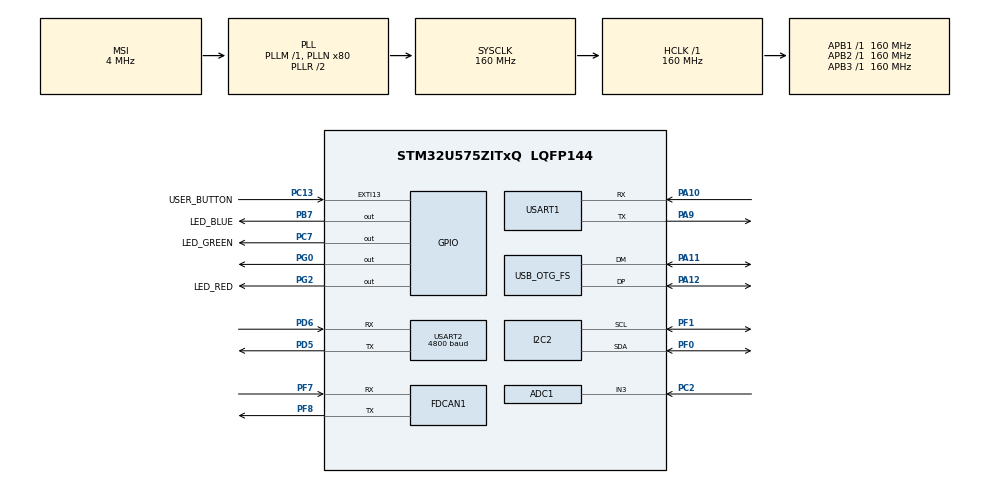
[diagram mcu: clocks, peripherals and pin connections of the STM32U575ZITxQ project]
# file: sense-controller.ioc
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ADC1.NbrOfConversion=1
ADC1.master=1
CORTEX_M33_NS.userName=CORTEX_M33
FDCAN1.AutoRetransmission=ENABLE
FDCAN1.CalculateBaudRateNominal=500000
FDCAN1.CalculateTimeBitNominal=2000
FDCAN1.CalculateTimeQuantumNominal=100.0
FDCAN1.ClockDivider=FDCAN_CLOCK_DIV4
FDCAN1.DataSyncJumpWidth=16
FDCAN1.DataTimeSeg1=23
FDCAN1.DataTimeSeg2=16
FDCAN1.ExtFiltersNbr=1
FDCAN1.FrameFormat=FDCAN_FRAME_FD_BRS
FDCAN1.NominalPrescaler=4
FDCAN1.NominalSyncJumpWidth=3
FDCAN1.NominalTimeSeg1=16
FDCAN1.NominalTimeSeg2=3
FDCAN1.StdFiltersNbr=1
GPDMA1.DESTINC_GPDMACH15=DMA_DINC_INCREMENTED
GPDMA1.IPHANDLE_GPDMACH15-SIMPLEREQUEST_GPDMACH15=__NULL
GPDMA1.REQUEST_GPDMACH15=GPDMA1_REQUEST_USART2_RX
I2C2.Timing=0x30909DEC
Mcu.Family=STM32U5
Mcu.Name=STM32U575ZITxQ
Mcu.Package=LQFP144
NVIC.FDCAN1_IT0_IRQn=true\:0\:0\:false\:false\:true\:true\:true\:true
NVIC.GPDMA1_Channel15_IRQn=true\:0\:0\:false\:false\:true\:false\:true\:true
NVIC.I2C2_ER_IRQn=true\:0\:0\:false\:false\:true\:true\:true\:true
NVIC.PriorityGroup=NVIC_PRIORITYGROUP_3
NVIC.TIM17_IRQn=true\:7\:0\:false\:false\:true\:false\:true\:true
NVIC.TimeBase=TIM17_IRQn
NVIC.TimeBaseIP=TIM17
NVIC.USART2_IRQn=true\:0\:0\:false\:false\:true\:true\:true\:true
PA10.Mode=Asynchronous
PA10.Signal=USART1_RX
PA11.Mode=Device_Only
PA11.Signal=USB_OTG_FS_DM
PA12.Mode=Device_Only
PA12.Signal=USB_OTG_FS_DP
PA13\ (JTMS/SWDIO).Signal=DEBUG_JTMS-SWDIO
PA14\ (JTCK/SWCLK).Signal=DEBUG_JTCK-SWCLK
PA15\ (JTDI).Signal=UCPD1_CC1
PA9.Mode=Asynchronous
PA9.Signal=USART1_TX
PB14.Signal=UCPD1_DBCC2
PB15.Signal=UCPD1_CC2
PB3\ (JTDO/TRACESWO).Signal=DEBUG_JTDO-SWO
PB5.Signal=UCPD1_DBCC1
PB7.GPIO_Label=LED_BLUE
PB7.Signal=GPIO_Output
PC13.GPIO_Label=USER_BUTTON
PC13.Signal=GPXTI13
PC14-OSC32_IN\ (PC14).Signal=RCC_OSC32_IN
PC15-OSC32_OUT\ (PC15).Signal=RCC_OSC32_OUT
PC2.Mode=IN3-Single-Ended
PC2.Signal=ADC1_IN3
PC7.GPIO_Label=LED_GREEN
PC7.Signal=GPIO_Output
PD5.Mode=Asynchronous
PD5.Signal=USART2_TX
PD6.Mode=Asynchronous
PD6.Signal=USART2_RX
PF0.Mode=I2C
PF0.Signal=I2C2_SDA
PF1.Mode=I2C
PF1.Signal=I2C2_SCL
PF7.Mode=FDCAN_Activate
PF7.Signal=FDCAN1_RX
PF8.Mode=FDCAN_Activate
PF8.Signal=FDCAN1_TX
PG0.GPIO_PuPd=GPIO_PULLDOWN
PG0.Signal=GPIO_Output
PG2.GPIO_Label=LED_RED
PG2.Signal=GPIO_Output
PWR.PowerMode=PWR_SMPS_SUPPLY
ProjectManager.HeapSize=0x200
ProjectManager.StackSize=0x400
ProjectManager.TargetToolchain=STM32CubeIDE
RCC.ADCFreq_Value=16000000
RCC.AHBFreq_Value=160000000
RCC.APB1Freq_Value=160000000
RCC.APB1TimFreq_Value=160000000
RCC.APB2Freq_Value=160000000
RCC.APB2TimFreq_Value=160000000
RCC.APB3Freq_Value=160000000
RCC.CortexFreq_Value=160000000
RCC.DACCLockSelectionVirtual=RCC_DAC1CLKSOURCE_LSI
RCC.EPOD_VALUE=4000000
RCC.HCLKFreq_Value=160000000
RCC.HSE_VALUE=16000000
RCC.HSI48_VALUE=48000000
RCC.HSI_VALUE=16000000
RCC.LSE_VALUE=32768
RCC.LSIDIV_VALUE=32000
RCC.MSI_VALUE=4000000
RCC.PLLFRACN=0
RCC.PLLN=80
RCC.SYSCLKFreq_VALUE=160000000
RCC.SYSCLKSource=RCC_SYSCLKSOURCE_PLLCLK
RCC.USBFreq_Value=48000000
RCC.VCOOutputFreq_Value=320000000
USART1.VirtualMode-Asynchronous=VM_ASYNC
USART2.BaudRate=4800
USART2.DataInvertParam=ADVFEATURE_DATAINV_DISABLE
USART2.Mode=MODE_RX
USART2.RxPinLevelInvertParam=ADVFEATURE_RXINV_DISABLE
USART2.SwapParam=ADVFEATURE_SWAP_ENABLE
USART2.VirtualMode-Asynchronous=VM_ASYNC
USB_OTG_FS.VirtualMode=Device_Only
VP_GPDMA1_VS_GPDMACH15.Mode=SIMPLEREQUEST_GPDMACH15
VP_ICACHE_VS_ENABLE_ICACHE_MEMORY.Mode=Memoryregions
VP_ICACHE_VS_ICACHE.Mode=DirectMappedCache
VP_LPBAMQUEUE_VS_QUEUE.Mode=QUEUEMODE
VP_LPBAM_VS_SIG1.Mode=SmartRun
VP_LPBAM_VS_SIG4.Mode=LPDMA1
VP_MEMORYMAP_VS_MEMORYMAP.Mode=CurAppReg
VP_PWR_VS_DBSignals.Mode=DisableDeadBatterySignals
VP_PWR_VS_LPOM.Mode=PowerOptimisation
VP_PWR_VS_SECSignals.Mode=Security/Privilege
VP_PWR_Vdda.Mode=isolationVdda
VP_SYS_VS_tim17.Mode=TIM17
board=NUCLEO-U575ZI-Q

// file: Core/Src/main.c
/* USER CODE BEGIN Header */
/**
  ******************************************************************************
  * @file           : main.c
  * @brief          : Main program body
  ******************************************************************************
  * @attention
  *
  * Copyright (c) 2025 STMicroelectronics.
  * All rights reserved.
  *
  * This software is licensed under terms that can be found in the LICENSE file
  * in the root directory of this software component.
  * If no LICENSE file comes with this software, it is provided AS-IS.
  *
  ******************************************************************************
  */
/* USER CODE END Header */
#include "main.h"

/* USER CODE BEGIN Includes */
#include <stdio.h>
#include <stdlib.h>
#include "can.h"
#include "string.h"
#include "stdbool.h"
/* USER CODE END Includes */

/* USER CODE BEGIN PM */
#define WIND_SENSOR_CAN_ID 0x041
/* USER CODE END PM */

ADC_HandleTypeDef hadc1;

FDCAN_HandleTypeDef hfdcan1;

I2C_HandleTypeDef hi2c2;

UART_HandleTypeDef huart1;
UART_HandleTypeDef huart2;
DMA_HandleTypeDef handle_GPDMA1_Channel15;

PCD_HandleTypeDef hpcd_USB_OTG_FS;

/* USER CODE BEGIN PV */

#define EZO_pH_I2C_ADDR (0x63 << 1)
#define EZO_EC_I2C_ADDR (0x64 << 1)
#define EZO_RTD_I2C_ADDR (0x66 << 1)

char uart_buffer[64];
volatile uint32_t max600_clock = 0;
volatile uint32_t max800_clock = 0;

/* USER CODE END PV */

void SystemClock_Config(void);
static void SystemPower_Config(void);
static void MX_GPIO_Init(void);
static void MX_GPDMA1_Init(void);
static void MX_ICACHE_Init(void);
static void MX_USART1_UART_Init(void);
static void MX_USART2_UART_Init(void);
static void MX_FDCAN1_Init(void);
static void MX_I2C2_Init(void);
static void MX_ADC1_Init(void);
static void MX_USB_OTG_FS_PCD_Init(void);
/* USER CODE BEGIN PFP */
int read_rtd();
int read_ec();
int read_ph();
void SendSensorCommand(const char *cmd, uint16_t address);
void ReadSensorResponse(char *buffer, uint8_t len, uint16_t address);
float simple_atof(char *str);
#ifdef __GNUC__
/* With GCC/RAISONANCE, small printf (option LD Linker->Libraries->Small printf
   set to 'Yes') calls __io_putchar() */
#define PUTCHAR_PROTOTYPE int __io_putchar(int ch)
#else
#define PUTCHAR_PROTOTYPE int fputc(int ch, FILE *f)
#endif /* __GNUC__ */

/* USER CODE END PFP */

int main(void)
{

  /* MCU Configuration--------------------------------------------------------*/

  /* Reset of all peripherals, Initializes the Flash interface and the Systick. */
  HAL_Init();

  /* Configure the System Power */
  SystemPower_Config();

  /* Configure the system clock */
  SystemClock_Config();

  /* Initialize all configured peripherals */
  MX_GPIO_Init();
  MX_GPDMA1_Init();
  MX_ICACHE_Init();
  MX_USART1_UART_Init();
  MX_USART2_UART_Init();
  MX_FDCAN1_Init();
  MX_I2C2_Init();
  MX_ADC1_Init();
  MX_USB_OTG_FS_PCD_Init();
  /* USER CODE BEGIN 2 */
  CAN_Init(&hfdcan1);
  NMEA0183 * windsensor = NMEA0183__create(&huart2);
  uint8_t output_wind_data[4];

  max600_clock = 0;
  max800_clock = 0;

  /* USER CODE END 2 */

  /* Infinite loop */
  while (1)
  {

    /* USER CODE BEGIN 3 */
//	HAL_Delay(10);
	uint8_t itemsInBuffer = NMEA0183__itemsInBuffer(windsensor);
	if (itemsInBuffer == 0)
		//printf("No items in buffer.\r\n");
		printf("\r");

	else {
	  	for(uint8_t itemIndex = 0; itemIndex < itemsInBuffer; itemIndex++){
	  		NMEA0183Raw * raw_msg = NMEA0183__getTopBufferItem(windsensor);

	  		if (raw_msg == NULL){
	  			NMEA0183__incrementReadIndex(windsensor);
	  			continue;
	  		}

	  		if (NMEA0183__checkMessage(raw_msg) != GOOD_MESSAGE){
	  			NMEA0183__incrementReadIndex(windsensor);
	  			continue;
	  		}

	  		if (NMEA0183__getScentenceType(raw_msg) == MESSAGE_MWV){
	  			uint16_t processedAngle = atof((char *)NMEA0183__getField(raw_msg, 1));
	  			uint16_t processedSpeed = atof((char *)NMEA0183__getField(raw_msg, 3)) * 10.0;
	  			printf("Wind Dir: %u Wind Speed: %u\r\n", processedAngle,processedSpeed);

	  			output_wind_data[0] = (uint8_t) (processedAngle & 0xFF);
	  			output_wind_data[1] = (uint8_t) ((processedAngle >> 8) & 0xFF);
	  			output_wind_data[2] = (uint8_t) (processedSpeed & 0xFF);
	  			output_wind_data[3] = (uint8_t) ((processedSpeed >> 8) & 0xFF);
//	  			if (CAN_Transmit(WIND_SENSOR_CAN_ID, FDCAN_STANDARD_ID, FDCAN_DLC_BYTES_4, output_wind_data, &hfdcan1) != HAL_OK) {
//					Error_Handler();
//				}

	  		}

	  		NMEA0183__incrementReadIndex(windsensor);
	  	}
	}

	uint8_t TxData_temp[3];
	memset(TxData_temp, 0, 3);
	uint8_t TxData_ec[4]; memset(TxData_ec, 0, 4);
	uint8_t TxData_ph[2]; memset(TxData_ph, 0, 2);

	// TEMPERATURE
	int temp_val = read_rtd();

	TxData_temp[0] = (uint8_t)(temp_val & 0xFF);
	TxData_temp[1] = (uint8_t)((temp_val >> 8) & 0xFF);
	TxData_temp[2] = (uint8_t)((temp_val >> 16) & 0xFF);

//    if (CAN_Transmit(0x100, FDCAN_STANDARD_ID, FDCAN_DLC_BYTES_3, TxData_temp, &hfdcan1) != HAL_OK) {
//    	Error_Handler();
//	} else HAL_GPIO_WritePin(GPIOC, GPIO_PIN_7, GPIO_PIN_SET);
	HAL_GPIO_WritePin(GPIOC, GPIO_PIN_7, GPIO_PIN_RESET);

	if (temp_val != -1) {
		printf("Temperature Value: %u\r\n", temp_val);
	}

	//HAL_UART_Transmit(&huart1, (uint8_t*)&temp_val, sizeof(temp_val), HAL_MAX_DELAY);

	// PH
	int ph_val = read_ph();
	TxData_ph[0] = (uint8_t)(ph_val & 0xFF);
	TxData_ph[1] = (uint8_t)((ph_val >> 8) & 0xFF);

//	if (CAN_Transmit(0x110, FDCAN_STANDARD_ID, FDCAN_DLC_BYTES_2, TxData_ph, &hfdcan1) != HAL_OK) {
//		Error_Handler();
//	} else HAL_GPIO_WritePin(GPIOC, GPIO_PIN_7, GPIO_PIN_SET);
	HAL_GPIO_WritePin(GPIOC, GPIO_PIN_7, GPIO_PIN_RESET);
	if (ph_val != -1) {
		printf("PH Value: %u\r\n", ph_val);
	}

	//HAL_UART_Transmit(&huart1, (uint8_t*)&ph_val, sizeof(ph_val), HAL_MAX_DELAY);

	// SALINITY
	int ec_val = read_ec();
	TxData_ec[0] = (uint8_t)(ec_val & 0xFF);
	TxData_ec[1] = (uint8_t)((ec_val >> 8) & 0xFF);
	TxData_ec[2] = (uint8_t)((ec_val >> 16) & 0xFF);
	TxData_ec[3] = (uint8_t)((ec_val >> 24) & 0xFF);

//	if (CAN_Transmit(0x120, FDCAN_STANDARD_ID, FDCAN_DLC_BYTES_4, TxData_ec, &hfdcan1) != HAL_OK) {
//		Error_Handler();
//	} else HAL_GPIO_WritePin(GPIOC, GPIO_PIN_7, GPIO_PIN_SET);
	HAL_GPIO_WritePin(GPIOC, GPIO_PIN_7, GPIO_PIN_RESET);

	if (ec_val != -1) {
		printf("Salinity Value: %u\r\n", ec_val);
	}

	//HAL_UART_Transmit(&huart1, (uint8_t*)&ec_val, sizeof(ec_val), HAL_MAX_DELAY);

	max600_clock++;
	max800_clock++;

	HAL_Delay(1);

  }
  /* USER CODE END 3 */
}

void SystemClock_Config(void)
{
  RCC_OscInitTypeDef RCC_OscInitStruct = {0};
  RCC_ClkInitTypeDef RCC_ClkInitStruct = {0};

  /** Configure the main internal regulator output voltage
  */
  if (HAL_PWREx_ControlVoltageScaling(PWR_REGULATOR_VOLTAGE_SCALE1) != HAL_OK)
  {
    Error_Handler();
  }

  /** Initializes the CPU, AHB and APB buses clocks
  */
  RCC_OscInitStruct.OscillatorType = RCC_OSCILLATORTYPE_HSI48|RCC_OSCILLATORTYPE_HSI
                              |RCC_OSCILLATORTYPE_MSI;
  RCC_OscInitStruct.HSIState = RCC_HSI_ON;
  RCC_OscInitStruct.HSI48State = RCC_HSI48_ON;
  RCC_OscInitStruct.HSICalibrationValue = RCC_HSICALIBRATION_DEFAULT;
  RCC_OscInitStruct.MSIState = RCC_MSI_ON;
  RCC_OscInitStruct.MSICalibrationValue = RCC_MSICALIBRATION_DEFAULT;
  RCC_OscInitStruct.MSIClockRange = RCC_MSIRANGE_4;
  RCC_OscInitStruct.PLL.PLLState = RCC_PLL_ON;
  RCC_OscInitStruct.PLL.PLLSource = RCC_PLLSOURCE_MSI;
  RCC_OscInitStruct.PLL.PLLMBOOST = RCC_PLLMBOOST_DIV1;
  RCC_OscInitStruct.PLL.PLLM = 1;
  RCC_OscInitStruct.PLL.PLLN = 80;
  RCC_OscInitStruct.PLL.PLLP = 2;
  RCC_OscInitStruct.PLL.PLLQ = 2;
  RCC_OscInitStruct.PLL.PLLR = 2;
  RCC_OscInitStruct.PLL.PLLRGE = RCC_PLLVCIRANGE_0;
  RCC_OscInitStruct.PLL.PLLFRACN = 0;
  if (HAL_RCC_OscConfig(&RCC_OscInitStruct) != HAL_OK)
  {
    Error_Handler();
  }

  /** Initializes the CPU, AHB and APB buses clocks
  */
  RCC_ClkInitStruct.ClockType = RCC_CLOCKTYPE_HCLK|RCC_CLOCKTYPE_SYSCLK
                              |RCC_CLOCKTYPE_PCLK1|RCC_CLOCKTYPE_PCLK2
                              |RCC_CLOCKTYPE_PCLK3;
  RCC_ClkInitStruct.SYSCLKSource = RCC_SYSCLKSOURCE_PLLCLK;
  RCC_ClkInitStruct.AHBCLKDivider = RCC_SYSCLK_DIV1;
  RCC_ClkInitStruct.APB1CLKDivider = RCC_HCLK_DIV1;
  RCC_ClkInitStruct.APB2CLKDivider = RCC_HCLK_DIV1;
  RCC_ClkInitStruct.APB3CLKDivider = RCC_HCLK_DIV1;

  if (HAL_RCC_ClockConfig(&RCC_ClkInitStruct, FLASH_LATENCY_4) != HAL_OK)
  {
    Error_Handler();
  }
}

/**
  * @brief Power Configuration
  * @retval None
  */
static void SystemPower_Config(void)
{
  HAL_PWREx_EnableVddIO2();

  /*
   * Disable the internal Pull-Up in Dead Battery pins of UCPD peripheral
   */
  HAL_PWREx_DisableUCPDDeadBattery();

  /*
   * Switch to SMPS regulator instead of LDO
   */
  if (HAL_PWREx_ConfigSupply(PWR_SMPS_SUPPLY) != HAL_OK)
  {
    Error_Handler();
  }
}

static void MX_ADC1_Init(void)
{

  /** Common config
  */
  hadc1.Instance = ADC1;
  hadc1.Init.ClockPrescaler = ADC_CLOCK_ASYNC_DIV1;
  hadc1.Init.Resolution = ADC_RESOLUTION_14B;
  hadc1.Init.GainCompensation = 0;
  hadc1.Init.ScanConvMode = ADC_SCAN_DISABLE;
  hadc1.Init.EOCSelection = ADC_EOC_SINGLE_CONV;
  hadc1.Init.LowPowerAutoWait = DISABLE;
  hadc1.Init.ContinuousConvMode = DISABLE;
  hadc1.Init.NbrOfConversion = 1;
  hadc1.Init.DiscontinuousConvMode = DISABLE;
  hadc1.Init.DMAContinuousRequests = DISABLE;
  hadc1.Init.TriggerFrequencyMode = ADC_TRIGGER_FREQ_HIGH;
  hadc1.Init.Overrun = ADC_OVR_DATA_PRESERVED;
  hadc1.Init.LeftBitShift = ADC_LEFTBITSHIFT_NONE;
  hadc1.Init.ConversionDataManagement = ADC_CONVERSIONDATA_DR;
  hadc1.Init.OversamplingMode = DISABLE;
  if (HAL_ADC_Init(&hadc1) != HAL_OK)
  {
    Error_Handler();
  }

}

static void MX_FDCAN1_Init(void)
{

  hfdcan1.Instance = FDCAN1;
  hfdcan1.Init.ClockDivider = FDCAN_CLOCK_DIV4;
  hfdcan1.Init.FrameFormat = FDCAN_FRAME_FD_BRS;
  hfdcan1.Init.Mode = FDCAN_MODE_NORMAL;
  hfdcan1.Init.AutoRetransmission = ENABLE;
  hfdcan1.Init.TransmitPause = DISABLE;
  hfdcan1.Init.ProtocolException = DISABLE;
  hfdcan1.Init.NominalPrescaler = 4;
  hfdcan1.Init.NominalSyncJumpWidth = 3;
  hfdcan1.Init.NominalTimeSeg1 = 16;
  hfdcan1.Init.NominalTimeSeg2 = 3;
  hfdcan1.Init.DataPrescaler = 1;
  hfdcan1.Init.DataSyncJumpWidth = 16;
  hfdcan1.Init.DataTimeSeg1 = 23;
  hfdcan1.Init.DataTimeSeg2 = 16;
  hfdcan1.Init.StdFiltersNbr = 1;
  hfdcan1.Init.ExtFiltersNbr = 1;
  hfdcan1.Init.TxFifoQueueMode = FDCAN_TX_FIFO_OPERATION;
  if (HAL_FDCAN_Init(&hfdcan1) != HAL_OK)
  {
    Error_Handler();
  }

}

static void MX_GPDMA1_Init(void)
{

  /* Peripheral clock enable */
  __HAL_RCC_GPDMA1_CLK_ENABLE();

  /* GPDMA1 interrupt Init */
    HAL_NVIC_SetPriority(GPDMA1_Channel15_IRQn, 0, 0);
    HAL_NVIC_EnableIRQ(GPDMA1_Channel15_IRQn);

}

static void MX_I2C2_Init(void)
{

  hi2c2.Instance = I2C2;
  hi2c2.Init.Timing = 0x30909DEC;
  hi2c2.Init.OwnAddress1 = 0;
  hi2c2.Init.AddressingMode = I2C_ADDRESSINGMODE_7BIT;
  hi2c2.Init.DualAddressMode = I2C_DUALADDRESS_DISABLE;
  hi2c2.Init.OwnAddress2 = 0;
  hi2c2.Init.OwnAddress2Masks = I2C_OA2_NOMASK;
  hi2c2.Init.GeneralCallMode = I2C_GENERALCALL_DISABLE;
  hi2c2.Init.NoStretchMode = I2C_NOSTRETCH_DISABLE;
  if (HAL_I2C_Init(&hi2c2) != HAL_OK)
  {
    Error_Handler();
  }

  /** Configure Analogue filter
  */
  if (HAL_I2CEx_ConfigAnalogFilter(&hi2c2, I2C_ANALOGFILTER_ENABLE) != HAL_OK)
  {
    Error_Handler();
  }

  /** Configure Digital filter
  */
  if (HAL_I2CEx_ConfigDigitalFilter(&hi2c2, 0) != HAL_OK)
  {
    Error_Handler();
  }

}

static void MX_ICACHE_Init(void)
{

  /** Enable instruction cache in 1-way (direct mapped cache)
  */
  if (HAL_ICACHE_ConfigAssociativityMode(ICACHE_1WAY) != HAL_OK)
  {
    Error_Handler();
  }
  if (HAL_ICACHE_Enable() != HAL_OK)
  {
    Error_Handler();
  }

}

static void MX_USART1_UART_Init(void)
{

  huart1.Instance = USART1;
  huart1.Init.BaudRate = 115200;
  huart1.Init.WordLength = UART_WORDLENGTH_8B;
  huart1.Init.StopBits = UART_STOPBITS_1;
  huart1.Init.Parity = UART_PARITY_NONE;
  huart1.Init.Mode = UART_MODE_TX_RX;
  huart1.Init.HwFlowCtl = UART_HWCONTROL_NONE;
  huart1.Init.OverSampling = UART_OVERSAMPLING_16;
  huart1.Init.OneBitSampling = UART_ONE_BIT_SAMPLE_DISABLE;
  huart1.Init.ClockPrescaler = UART_PRESCALER_DIV1;
  huart1.AdvancedInit.AdvFeatureInit = UART_ADVFEATURE_NO_INIT;
  if (HAL_UART_Init(&huart1) != HAL_OK)
  {
    Error_Handler();
  }
  if (HAL_UARTEx_SetTxFifoThreshold(&huart1, UART_TXFIFO_THRESHOLD_1_8) != HAL_OK)
  {
    Error_Handler();
  }
  if (HAL_UARTEx_SetRxFifoThreshold(&huart1, UART_RXFIFO_THRESHOLD_1_8) != HAL_OK)
  {
    Error_Handler();
  }
  if (HAL_UARTEx_DisableFifoMode(&huart1) != HAL_OK)
  {
    Error_Handler();
  }

}

static void MX_USART2_UART_Init(void)
{

  huart2.Instance = USART2;
  huart2.Init.BaudRate = 4800;
  huart2.Init.WordLength = UART_WORDLENGTH_8B;
  huart2.Init.StopBits = UART_STOPBITS_1;
  huart2.Init.Parity = UART_PARITY_NONE;
  huart2.Init.Mode = UART_MODE_RX;
  huart2.Init.HwFlowCtl = UART_HWCONTROL_NONE;
  huart2.Init.OverSampling = UART_OVERSAMPLING_16;
  huart2.Init.OneBitSampling = UART_ONE_BIT_SAMPLE_DISABLE;
  huart2.Init.ClockPrescaler = UART_PRESCALER_DIV1;
  huart2.AdvancedInit.AdvFeatureInit = UART_ADVFEATURE_SWAP_INIT;
  huart2.AdvancedInit.Swap = UART_ADVFEATURE_SWAP_ENABLE;
  if (HAL_UART_Init(&huart2) != HAL_OK)
  {
    Error_Handler();
  }
  if (HAL_UARTEx_SetTxFifoThreshold(&huart2, UART_TXFIFO_THRESHOLD_1_8) != HAL_OK)
  {
    Error_Handler();
  }
  if (HAL_UARTEx_SetRxFifoThreshold(&huart2, UART_RXFIFO_THRESHOLD_1_8) != HAL_OK)
  {
    Error_Handler();
  }
  if (HAL_UARTEx_DisableFifoMode(&huart2) != HAL_OK)
  {
    Error_Handler();
  }

}

static void MX_USB_OTG_FS_PCD_Init(void)
{

  hpcd_USB_OTG_FS.Instance = USB_OTG_FS;
  hpcd_USB_OTG_FS.Init.dev_endpoints = 6;
  hpcd_USB_OTG_FS.Init.speed = PCD_SPEED_FULL;
  hpcd_USB_OTG_FS.Init.phy_itface = PCD_PHY_EMBEDDED;
  hpcd_USB_OTG_FS.Init.Sof_enable = DISABLE;
  hpcd_USB_OTG_FS.Init.low_power_enable = DISABLE;
  hpcd_USB_OTG_FS.Init.lpm_enable = DISABLE;
  hpcd_USB_OTG_FS.Init.battery_charging_enable = DISABLE;
  hpcd_USB_OTG_FS.Init.use_dedicated_ep1 = DISABLE;
  hpcd_USB_OTG_FS.Init.vbus_sensing_enable = DISABLE;
  hpcd_USB_OTG_FS.Init.dma_enable = DISABLE;
  if (HAL_PCD_Init(&hpcd_USB_OTG_FS) != HAL_OK)
  {
    Error_Handler();
  }

}

static void MX_GPIO_Init(void)
{
  GPIO_InitTypeDef GPIO_InitStruct = {0};

  /* GPIO Ports Clock Enable */
  __HAL_RCC_GPIOC_CLK_ENABLE();
  __HAL_RCC_GPIOF_CLK_ENABLE();
  __HAL_RCC_GPIOG_CLK_ENABLE();
  __HAL_RCC_GPIOB_CLK_ENABLE();
  __HAL_RCC_GPIOA_CLK_ENABLE();
  __HAL_RCC_GPIOD_CLK_ENABLE();

  /*Configure GPIO pin Output Level */
  HAL_GPIO_WritePin(GPIOG, GPIO_PIN_0|LED_RED_Pin, GPIO_PIN_RESET);

  /*Configure GPIO pin Output Level */
  HAL_GPIO_WritePin(LED_GREEN_GPIO_Port, LED_GREEN_Pin, GPIO_PIN_RESET);

  /*Configure GPIO pin Output Level */
  HAL_GPIO_WritePin(LED_BLUE_GPIO_Port, LED_BLUE_Pin, GPIO_PIN_RESET);

  /*Configure GPIO pin : USER_BUTTON_Pin */
  GPIO_InitStruct.Pin = USER_BUTTON_Pin;
  GPIO_InitStruct.Mode = GPIO_MODE_IT_RISING;
  GPIO_InitStruct.Pull = GPIO_NOPULL;
  HAL_GPIO_Init(USER_BUTTON_GPIO_Port, &GPIO_InitStruct);

  /*Configure GPIO pin : PG0 */
  GPIO_InitStruct.Pin = GPIO_PIN_0;
  GPIO_InitStruct.Mode = GPIO_MODE_OUTPUT_PP;
  GPIO_InitStruct.Pull = GPIO_PULLDOWN;
  GPIO_InitStruct.Speed = GPIO_SPEED_FREQ_LOW;
  HAL_GPIO_Init(GPIOG, &GPIO_InitStruct);

  /*Configure GPIO pin : PB15 */
  GPIO_InitStruct.Pin = GPIO_PIN_15;
  GPIO_InitStruct.Mode = GPIO_MODE_ANALOG;
  GPIO_InitStruct.Pull = GPIO_NOPULL;
  HAL_GPIO_Init(GPIOB, &GPIO_InitStruct);

  /*Configure GPIO pin : LED_RED_Pin */
  GPIO_InitStruct.Pin = LED_RED_Pin;
  GPIO_InitStruct.Mode = GPIO_MODE_OUTPUT_PP;
  GPIO_InitStruct.Pull = GPIO_NOPULL;
  GPIO_InitStruct.Speed = GPIO_SPEED_FREQ_LOW;
  HAL_GPIO_Init(LED_RED_GPIO_Port, &GPIO_InitStruct);

  /*Configure GPIO pin : LED_GREEN_Pin */
  GPIO_InitStruct.Pin = LED_GREEN_Pin;
  GPIO_InitStruct.Mode = GPIO_MODE_OUTPUT_PP;
  GPIO_InitStruct.Pull = GPIO_NOPULL;
  GPIO_InitStruct.Speed = GPIO_SPEED_FREQ_LOW;
  HAL_GPIO_Init(LED_GREEN_GPIO_Port, &GPIO_InitStruct);

  /*Configure GPIO pin : PA15 */
  GPIO_InitStruct.Pin = GPIO_PIN_15;
  GPIO_InitStruct.Mode = GPIO_MODE_ANALOG;
  GPIO_InitStruct.Pull = GPIO_NOPULL;
  HAL_GPIO_Init(GPIOA, &GPIO_InitStruct);

  /*Configure GPIO pin : LED_BLUE_Pin */
  GPIO_InitStruct.Pin = LED_BLUE_Pin;
  GPIO_InitStruct.Mode = GPIO_MODE_OUTPUT_PP;
  GPIO_InitStruct.Pull = GPIO_NOPULL;
  GPIO_InitStruct.Speed = GPIO_SPEED_FREQ_LOW;
  HAL_GPIO_Init(LED_BLUE_GPIO_Port, &GPIO_InitStruct);

}

/* USER CODE BEGIN 4 */
int read_rtd() {

	char response[32] = {0};

	if (max600_clock == 1) {
	    SendSensorCommand("R", EZO_RTD_I2C_ADDR);
	}

	if (max600_clock == 600) {
	    ReadSensorResponse(response, sizeof(response), EZO_RTD_I2C_ADDR);
	    float response_f = simple_atof((char *) response) + 273.15;
	    return response_f * 1000;
	}

	return -1;

}

/*
 * EC Read */
int read_ec() { //0.07 -> 500,000; resolution decreases as conductivity increases

	char response[32] = {0};

	if (max600_clock == 1) {
	    SendSensorCommand("R", EZO_EC_I2C_ADDR);

	}

	if (max600_clock == 600) {
	    ReadSensorResponse(response, sizeof(response), EZO_EC_I2C_ADDR);

	    float response_f = simple_atof(response);
	    max600_clock = 0;
	    return response_f * 1000;

	}

	return -1;

}

/*
 * pH Read */
int read_ph() { //0.001 -> 14.000, returns 1-> 14000

	char response[32] = {0};

	if (max800_clock == 1) {
	    SendSensorCommand("R", EZO_pH_I2C_ADDR);
	}

	if (max800_clock == 800) {
	    ReadSensorResponse(response, sizeof(response), EZO_pH_I2C_ADDR);

	    float response_f = simple_atof(response);

	    max800_clock = 0;
	    return response_f * 1000;

	}

	return -1;

}

/* I2C Transmit and Receive for sensors */
void SendSensorCommand(const char *cmd, uint16_t address) {
    HAL_StatusTypeDef status = HAL_I2C_Master_Transmit(&hi2c2, address, (uint8_t *)cmd, strlen(cmd), 1000); // timeout 1s
    if (status != HAL_OK) {
		printf("I2C TX failed! ErrorCode: %ld\r\n", hi2c2.ErrorCode);
	}
}

void ReadSensorResponse(char *buffer, uint8_t len, uint16_t address) {
    HAL_I2C_Master_Receive(&hi2c2, address, (uint8_t*)buffer, len, HAL_MAX_DELAY);
}

float simple_atof(char *str) {
    float result = 0.0f;
    float sign = 1.0f;
    float frac = 0.1f;
    bool after_decimal = false;
    bool started = false;

    // Skip everything until a digit or sign appears
    while (*str && !((*str >= '0' && *str <= '9') || *str == '-' || *str == '+')) {
        str++;
    }

    // Handle sign
    if (*str == '-') {
        sign = -1.0f;
        str++;
    } else if (*str == '+') {
        str++;
    }

    // Parse number
    while (*str) {
        if (*str >= '0' && *str <= '9') {
            started = true;
            if (!after_decimal) {
                result = result * 10.0f + (*str - '0');
            } else {
                result += (*str - '0') * frac;
                frac *= 0.1f;
            }
        } else if (*str == '.') {
            after_decimal = true;
        } else {
            if (started) break;
        }
        str++;
    }

    return result * sign;
}

PUTCHAR_PROTOTYPE
{
  /* Place your implementation of fputc here */
  /* e.g. write a character to the USART1 and Loop until the end of transmission */
  HAL_UART_Transmit(&huart1, (uint8_t *)&ch, 1, HAL_MAX_DELAY);

  return ch;
}
/* USER CODE END 4 */

void HAL_TIM_PeriodElapsedCallback(TIM_HandleTypeDef *htim)
{
  if (htim->Instance == TIM17)
  {
    HAL_IncTick();
  }
}

void Error_Handler(void)
{
  /* USER CODE BEGIN Error_Handler_Debug */
  /* User can add his own implementation to report the HAL error return state */
  __disable_irq();
//  while (1)
//  {
//  }
  printf("reset\r\n");
  NVIC_SystemReset();

  /* USER CODE END Error_Handler_Debug */
}
